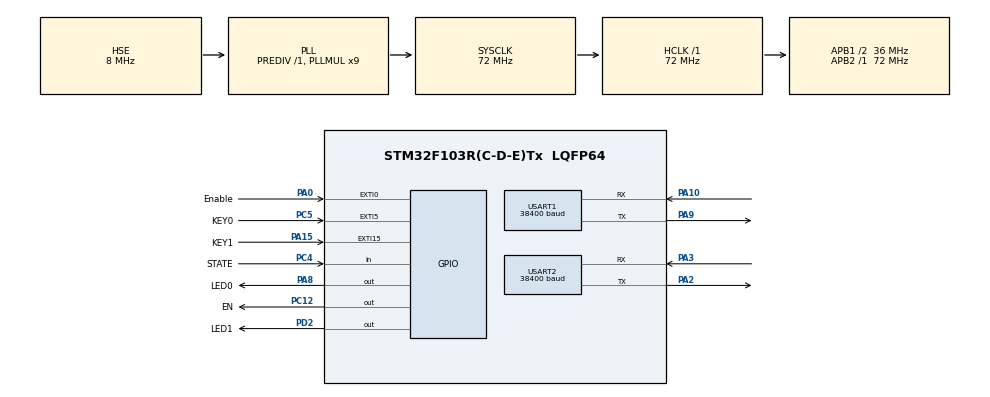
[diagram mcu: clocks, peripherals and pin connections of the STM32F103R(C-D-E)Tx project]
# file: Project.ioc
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Mcu.Family=STM32F1
Mcu.Name=STM32F103R(C-D-E)Tx
Mcu.Package=LQFP64
NVIC.EXTI0_IRQn=true\:2\:0\:true\:false\:true\:true\:true
NVIC.EXTI15_10_IRQn=true\:2\:0\:true\:false\:true\:true\:true
NVIC.EXTI9_5_IRQn=true\:2\:0\:true\:false\:true\:true\:true
NVIC.PriorityGroup=NVIC_PRIORITYGROUP_4
NVIC.TIM3_IRQn=true\:3\:0\:true\:false\:true\:true\:true
NVIC.USART1_IRQn=true\:1\:0\:true\:false\:true\:true\:true
NVIC.USART2_IRQn=true\:1\:0\:true\:false\:true\:true\:true
PA0-WKUP.GPIO_Label=Enable
PA0-WKUP.GPIO_PuPd=GPIO_PULLDOWN
PA0-WKUP.Signal=GPXTI0
PA10.Mode=Asynchronous
PA10.Signal=USART1_RX
PA13.Mode=Serial_Wire
PA13.Signal=SYS_JTMS-SWDIO
PA14.Mode=Serial_Wire
PA14.Signal=SYS_JTCK-SWCLK
PA15.GPIO_Label=KEY1
PA15.GPIO_PuPd=GPIO_PULLUP
PA15.Signal=GPXTI15
PA2.Mode=Asynchronous
PA2.Signal=USART2_TX
PA3.Mode=Asynchronous
PA3.Signal=USART2_RX
PA8.GPIO_Label=LED0
PA8.Signal=GPIO_Output
PA9.Mode=Asynchronous
PA9.Signal=USART1_TX
PC12.GPIO_Label=EN
PC12.Signal=GPIO_Output
PC4.GPIO_Label=STATE
PC4.Signal=GPIO_Input
PC5.GPIO_Label=KEY0
PC5.GPIO_PuPd=GPIO_PULLUP
PC5.Signal=GPXTI5
PD0-OSC_IN.Mode=HSE-External-Oscillator
PD0-OSC_IN.Signal=RCC_OSC_IN
PD1-OSC_OUT.Mode=HSE-External-Oscillator
PD1-OSC_OUT.Signal=RCC_OSC_OUT
PD2.GPIO_Label=LED1
PD2.Signal=GPIO_Output
ProjectManager.HeapSize=0x200
ProjectManager.StackSize=0x400
ProjectManager.TargetToolchain=STM32CubeIDE
RCC.AHBFreq_Value=72000000
RCC.APB1CLKDivider=RCC_HCLK_DIV2
RCC.APB1Freq_Value=36000000
RCC.APB1TimFreq_Value=72000000
RCC.APB2Freq_Value=72000000
RCC.APB2TimFreq_Value=72000000
RCC.HCLKFreq_Value=72000000
RCC.PLLMUL=RCC_PLL_MUL9
RCC.PLLSourceVirtual=RCC_PLLSOURCE_HSE
RCC.SYSCLKFreq_VALUE=72000000
RCC.SYSCLKSource=RCC_SYSCLKSOURCE_PLLCLK
RCC.USBFreq_Value=72000000
TIM3.Period=2499
TIM3.Prescaler=7199
USART1.BaudRate=38400
USART1.VirtualMode=VM_ASYNC
USART2.BaudRate=38400
USART2.VirtualMode=VM_ASYNC
VP_TIM3_VS_ClockSourceINT.Mode=Internal
board=custom

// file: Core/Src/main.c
/* USER CODE BEGIN Header */
/**
  ******************************************************************************
  * @file           : main.c
  * @brief          : Main program body
  ******************************************************************************
  * @attention
  *
  * <h2><center>&copy; Copyright (c) 2020 STMicroelectronics.
  * All rights reserved.</center></h2>
  *
  * This software component is licensed by ST under BSD 3-Clause license,
  * the "License"; You may not use this file except in compliance with the
  * License. You may obtain a copy of the License at:
  *                        opensource.org/licenses/BSD-3-Clause
  *
  ******************************************************************************
  */
/* USER CODE END Header */

#include "main.h"

/* USER CODE BEGIN Includes */
#include <string.h>
#include <stdio.h>
#include "lcd.h"
/* USER CODE END Includes */

TIM_HandleTypeDef htim3;

UART_HandleTypeDef huart1;
UART_HandleTypeDef huart2;

/* USER CODE BEGIN PV */
// lcd相关
char bt[1024]={0};
// 状态。ab：有无连接
char sta[1024]={0};
char cmd[1024]={0};
// l：显示的内容
char l[12][1024]={0};
char receiver[1024]={0};
char sender[1024]={0};
int re=0;

unsigned char outd[1024]={0};
unsigned char outd2[1024]={0};
unsigned char outl;
unsigned char outl2;
int icnt=0;
unsigned char snum[1024]={0};
unsigned char snumLength=0;

// 蓝牙相关
char rcv_buffer_user[1024]={0};
char rcv_buffer_bluetooth[1024]={0};
char helloWorld[40]="Hello world!\r\n";
char version[40] = "AT+VERSION?\r\n";
char cmode1[15] = "AT+CMODE=1\r\n";
char cmode0[15] = "AT+CMODE=0\r\n";
char modeat[15] = "enter at\r\n";
char at[10] = "AT\r\n";
char BindAddress[30]="AT+BIND=2113,21,000C10\r\n";
char EnBluetooth[18]="Bluetooth_Open\r\n";
char DisBluetooth[19]="Bluetooth_close\r\n";

int timer;
int key_interval = 300;
/* USER CODE END PV */

void SystemClock_Config(void);
static void MX_GPIO_Init(void);
static void MX_USART2_UART_Init(void);
static void MX_USART1_UART_Init(void);
static void MX_TIM3_Init(void);

/* USER CODE BEGIN 0 */
void HAL_UART_RxCpltCallback(UART_HandleTypeDef *huart)
{
	// 1 电脑
	if(huart->Instance==USART1)
	{
		//HAL_UART_Transmit(&huart2, "DO", 2, 0xffff);
		static unsigned char uRx_Data[1024] = {0};
		static unsigned char uLength = 0;
		if(rcv_buffer_user[0] == '\r')
		{
			uRx_Data[uLength] = rcv_buffer_user[0];
			uRx_Data[uLength+1] = '\n';
			uRx_Data[uLength+2] = '\n';
			for (int i=0;i<uLength;i++)
			{
				outd[i]=uRx_Data[i];
			}
			for (int i=uLength;i<1024;i++)
			{
				outd[i]=0;
			}
			outl = uLength;
			//uLength = 0;
			int q = outl / 13;
				if(outl % 13 != 0)
				{
					q = q + 1;
				}
				if(icnt+q<13)
				{
					if(q==1)
					{
						for(int k=0;k<28-outl;k++)
						{
							l[icnt][k]=' ';
						}
						for(int k=28-outl;k<28;k++)
						{
							l[icnt][k]=(char) outd[k-28+outl];
						}
					}
					else
					{
						for (int j=0;j<q;j++)
						{
							l[icnt+j][0]=' ';
							l[icnt+j][1]=' ';
							l[icnt+j][2]=' ';
							l[icnt+j][3]=' ';
							l[icnt+j][4]=' ';
							l[icnt+j][5]=' ';
							l[icnt+j][6]=' ';
							l[icnt+j][7]=' ';
							l[icnt+j][8]=' ';
							l[icnt+j][9]=' ';
							l[icnt+j][10]=' ';
							l[icnt+j][11]=' ';
							l[icnt+j][12]=' ';
							l[icnt+j][13]=' ';
							l[icnt+j][14]=' ';

							for (int k=0;k<13;k++)
							{
								if(j*13+k<outl)
								{
									l[icnt+j][k+15]=(char) outd[j*13+k];
								}
								else
								{
									l[icnt+j][k+15]=' ';
								}
							}
						}
					}
					icnt+=q;
				}
				else
				{
					int re=icnt+q-12;
					for(int j=0;j<12-re;j++)
					{
						for(int k=0;k<28;k++)
						{
							l[j][k]=l[j+re][k];
						}
					}
					if(q==1)
					{
						for(int k=0;k<28-outl;k++)
						{
							l[12-q][k]=' ';
						}
						for(int k=28-outl;k<28;k++)
						{
							l[12-q][k]=(char) outd[k-28+outl];
						}
						//HAL_UART_Transmit(&huart1, outd, strlen(outd), 0xffff);
						//HAL_UART_Transmit(&huart1, outd2, strlen(outd2), 0xffff);
					}
					else
					{

						for(int j=0;j<q;j++)
						{
							l[j+12-q][0]=' ';
							l[j+12-q][1]=' ';
							l[j+12-q][2]=' ';
							l[j+12-q][3]=' ';
							l[j+12-q][4]=' ';
							l[j+12-q][5]=' ';
							l[j+12-q][6]=' ';
							l[j+12-q][7]=' ';
							l[j+12-q][8]=' ';
							l[j+12-q][9]=' ';
							l[j+12-q][10]=' ';
							l[j+12-q][11]=' ';
							l[j+12-q][12]=' ';
							l[j+12-q][13]=' ';
							l[j+12-q][14]=' ';
							 for(int k=0;k<13;k++)
							 {
								 if(j*13+k<outl)
								 {
									 l[j+12-q][k+15]=outd[j*13+k];
								 }
								 else
								 {
									 l[j+12-q][k+15]=' ';
								 }
							 }
						}
					}
					icnt=12;
				}
				snum[snumLength]=q;
				snumLength++;
			// 电脑
//			HAL_UART_Transmit(&huart1, uRx_Data, uLength, 0xffff);
			// 蓝牙
			HAL_UART_Transmit(&huart2, uRx_Data, uLength + 3, 0xffff);
			uLength=0;
			// 接下来把数据写到显示的array里

			//re=0;
		}
		else
		{
			uRx_Data[uLength] = rcv_buffer_user[0];
			uLength++;
		}
	}
	// 2 蓝牙
	if(huart->Instance==USART2)
	{
		static unsigned char uRx_Data2[1024] = {0};
		static unsigned char uLength2 = 0;
		/*if(re==0){
		write_to_array_right();
		re=1;
		}*/
		if(rcv_buffer_bluetooth[0] == '\r')
		{
			uRx_Data2[uLength2] = rcv_buffer_bluetooth[0];
			// 电脑
			if(strlen(uRx_Data2[0])==0){
				for (int i=0;i<uLength2;i++){
					uRx_Data2[i]=uRx_Data2[i+1];
				}
				uLength2--;
			}

			for (int i=0;i<uLength2;i++)
			{
				outd2[i] = uRx_Data2[i];
			}
			for (int i=uLength2;i<1024;i++)
			{
				outd2[i] = 0;
			}
			outl2=uLength2;
			//HAL_UART_Transmit(&huart1, outd2, uLength2 + 1, 0xffff);
			int q = outl2 / 13;
				if(outl2 % 13 != 0){
					q=q+1;
				}
				if(icnt+q<13)
				{
					for (int j=0;j<q;j++)
					{
						for (int k=0;k<13;k++)
						{
							if(j*13 + k < outl2)
							{
								l[icnt+j][k]=(char) outd2[j*13+k];
							}
							else
							{
								l[icnt+j][k]=' ';
							}
						}for (int k=13;k<28;k++){
							l[icnt+j][k]=' ';
						}
					}
					icnt+=q;
					//HAL_UART_Transmit(&huart1, outd, strlen(outd), 0xffff);
					//HAL_UART_Transmit(&huart1, outd2, strlen(outd2), 0xffff);
				}
				else
				{
					int re=icnt+q-12;
					for(int j=0;j<12-re;j++)
					{
						for(int k=0;k<28;k++)
						{
							l[j][k]=l[j+re][k];
						}
					}
					for(int j=0;j<q;j++)
					{
						 for(int k=0;k<13;k++)
						 {
							 if(j*13+k<outl2)
							 {
								 l[j+12-q][k]=outd2[j*13+k];
							 }
							 else
							 {
								 l[j+12-q][k]=' ';
							 }
						 }
						 for (int k=13;k<28;k++){
							 l[j+12-q][k]=' ';
						 }
					}
					icnt=12;
				}
				//HAL_UART_Transmit(&huart1, outd2,strlen(outd2), 0xffff);
				//HAL_UART_Transmit(&huart1, l[3],strlen(l[3]), 0xffff);
				snum[snumLength]=q;
				snumLength++;
			uLength2 = 0;
		}
		else
		{
			uRx_Data2[uLength2] = rcv_buffer_bluetooth[0];
			uLength2++;
		}
	}
}

void USART1_IRQHandler(void)
{
  /* USER CODE BEGIN USART1_IRQn 0 */

  /* USER CODE END USART1_IRQn 0 */
  HAL_UART_IRQHandler(&huart1);
  /* USER CODE BEGIN USART1_IRQn 1 */
  HAL_UART_Receive_IT(&huart1, (uint8_t *)rcv_buffer_user, 1);
  /* USER CODE END USART1_IRQn 1 */
}
void USART2_IRQHandler(void)
{
  /* USER CODE BEGIN USART2_IRQn 0 */

  /* USER CODE END USART2_IRQn 0 */
  HAL_UART_IRQHandler(&huart2);
  /* USER CODE BEGIN USART2_IRQn 1 */
  HAL_UART_Receive_IT(&huart2, (uint8_t *)rcv_buffer_bluetooth, 1);
  /* USER CODE END USART2_IRQn 1 */
}

void HAL_GPIO_EXTI_Callback(uint16_t GPIO_Pin)
{
	if(HAL_GetTick() - timer < key_interval)
	{
		return;
	}
	else
	{
		timer = HAL_GetTick();
		switch(GPIO_Pin)
		{
			case KEY0_Pin://建立默认连接
			{
				HAL_UART_Transmit(&huart2, (uint8_t*)cmode0, strlen(cmode0), HAL_MAX_DELAY);
				HAL_UART_Transmit(&huart2, (uint8_t*)BindAddress, strlen(BindAddress), HAL_MAX_DELAY);
				HAL_UART_Transmit(&huart1, (uint8_t*)cmode0, strlen(cmode0), HAL_MAX_DELAY);
				break;
			}
			case KEY1_Pin://任意连接
			{
				HAL_UART_Transmit(&huart2, (uint8_t*)cmode1, strlen(cmode1), HAL_MAX_DELAY);
				HAL_UART_Transmit(&huart1, (uint8_t*)cmode1, strlen(cmode1), HAL_MAX_DELAY);
				break;
			}
			case Enable_Pin://打开或关闭蓝牙模
			{
				HAL_GPIO_TogglePin(EN_GPIO_Port, EN_Pin);
				int IfEn=HAL_GPIO_ReadPin(EN_GPIO_Port,EN_Pin);
				if (IfEn==0)
				{
					HAL_UART_Transmit(&huart1, (uint8_t*)DisBluetooth, strlen(DisBluetooth), HAL_MAX_DELAY);
				}
				else
				{
					HAL_UART_Transmit(&huart1, (uint8_t*)EnBluetooth, strlen(EnBluetooth), HAL_MAX_DELAY);
				}
				return;
			}
		}

	}
}

/* USER CODE END 0 */

int main(void)
{

  /* MCU Configuration--------------------------------------------------------*/

  /* Reset of all peripherals, Initializes the Flash interface and the Systick. */
  HAL_Init();
  LCD_Init();

  /* Configure the system clock */
  SystemClock_Config();

  /* Initialize all configured peripherals */
  MX_GPIO_Init();
  MX_USART2_UART_Init();
  MX_USART1_UART_Init();
  MX_TIM3_Init();
  /* USER CODE BEGIN 2 */
  HAL_UART_Receive_IT(&huart1, (uint8_t *)rcv_buffer_user, 1);
  HAL_UART_Receive_IT(&huart2, (uint8_t *)rcv_buffer_bluetooth, 1);
  HAL_TIM_Base_Start_IT(&htim3);

  HAL_GPIO_WritePin(EN_GPIO_Port, EN_Pin, GPIO_PIN_RESET);

  timer = HAL_GetTick();

  /* USER CODE END 2 */

  /* Infinite loop */
  /* USER CODE BEGIN WHILE */
  while (1)
    {
	  HAL_Delay(1000);
	  /*HAL_UART_Transmit(&huart1, "new line0\n", 11, 0xffff);
	  HAL_UART_Transmit(&huart1, l[0], strlen(l[0]), 0xffff);
	  HAL_UART_Transmit(&huart1, "new line1\n", 11, 0xffff);
	  HAL_UART_Transmit(&huart1, l[1], strlen(l[1]), 0xffff);
	  HAL_UART_Transmit(&huart1, "new line2\n", 11, 0xffff);
	  HAL_UART_Transmit(&huart1, l[2], strlen(l[2]), 0xffff);
	  HAL_UART_Transmit(&huart1, "new line3\n", 11, 0xffff);
	  HAL_UART_Transmit(&huart1, l[3], strlen(l[3]), 0xffff);
	  HAL_UART_Transmit(&huart1, "new line4\n", 11, 0xffff);
	  HAL_UART_Transmit(&huart1, l[4], strlen(l[4]), 0xffff);
	  HAL_UART_Transmit(&huart1, "new line5\n", 11, 0xffff);
	  HAL_UART_Transmit(&huart1, l[5], strlen(l[5]), 0xffff);
	  HAL_UART_Transmit(&huart1, "new line6\n", 11, 0xffff);
	  HAL_UART_Transmit(&huart1, l[6], strlen(l[6]), 0xffff);
	  HAL_UART_Transmit(&huart1, "new line7\n", 11, 0xffff);
	  HAL_UART_Transmit(&huart1, l[7], strlen(l[7]), 0xffff);
	  HAL_UART_Transmit(&huart1, "new line8\n", 11, 0xffff);
	  HAL_UART_Transmit(&huart1, l[8], strlen(l[8]), 0xffff);
	  HAL_UART_Transmit(&huart1, "new line9\n", 11, 0xffff);
	  HAL_UART_Transmit(&huart1, l[9], strlen(l[9]), 0xffff);
	  HAL_UART_Transmit(&huart1, "new line10\n", 11, 0xffff);
	  HAL_UART_Transmit(&huart1, l[10], strlen(l[10]), 0xffff);
	  HAL_UART_Transmit(&huart1, "new line11\n", 11, 0xffff);
	  HAL_UART_Transmit(&huart1, l[11], strlen(l[11]), 0xffff);
	  HAL_UART_Transmit(&huart1, "new line12\n", 11, 0xffff);*/
      /* USER CODE END WHILE */
  	  char msg[20];
  	  char btmsg[20];
  	  char cmdmsg[20];
  	  sprintf(btmsg, "BlueTooth:%s", bt);
  	  sprintf(msg, "status:%s", sta);
  	  sprintf(cmdmsg, "msg:%s", cmd);
  	  POINT_COLOR = BLACK;
  	  LCD_DrawRectangle(5, 5, 235, 65);
  	  LCD_ShowString(6, 6, 228, 16, 16, (uint8_t*) btmsg);
  	  LCD_ShowString(6, 26, 228, 16, 16, (uint8_t*) msg);
  	  LCD_ShowString(6, 46, 228, 16, 16, (uint8_t*) cmdmsg);
  	  LCD_DrawRectangle(5, 65, 235, 315);
//  	 HAL_UART_Transmit(&huart1, "First char\r\n", 20, 0xffff);
  	  /*for (int i=0;i<12;i++){
//  		  HAL_UART_Transmit(&huart1, l[i][0], 3, 0xffff);
  		  if(l[i][0]==' '){
  			  POINT_COLOR=BLUE;
  		  }else{
  			  POINT_COLOR=RED;
  		  }
			  LCD_ShowString(6,66+20*i,228,16,16,l[i]);
  	  }*/
  	  	  	  if(l[0][0]==' '){
  		  		POINT_COLOR = BLUE;
  		  	  }else{
  		  		POINT_COLOR = RED;
  		  	  }
  		  	LCD_ShowString(6, 66, 228, 16, 16, (uint8_t*) l[0]);
  		  	  if(l[1][0]==' '){
  		  		POINT_COLOR = BLUE;
  		  	  }else{
  		  		POINT_COLOR = RED;
  		  	  }
  		  	LCD_ShowString(6, 86, 228, 16, 16, (uint8_t*) l[1]);
  		  	  if(l[2][0]==' '){
  		  		POINT_COLOR = BLUE;
  		  	  }else{
  		  		POINT_COLOR = RED;
  		  	  }
  		  	LCD_ShowString(6, 106, 228, 16, 16, (uint8_t*) l[2]);
  		  	  if(l[3][0]==' '){
  		  		POINT_COLOR = BLUE;
  		  	  }else{
  		  		POINT_COLOR = RED;
  		  	  }
  		  	LCD_ShowString(6, 126, 228, 16, 16, (uint8_t*) l[3]);
  		  	  if(l[4][0]==' '){
  		  		POINT_COLOR = BLUE;
  		  	  }else{
  		  		POINT_COLOR = RED;
  		  	  }
  		  	LCD_ShowString(6, 146, 228, 16, 16, (uint8_t*) l[4]);
  		  	  if(l[5][0]==' '){
  		  		POINT_COLOR = BLUE;
  		  	  }else{
  		  		POINT_COLOR = RED;
  		  	  }
  		  	LCD_ShowString(6, 166, 228, 16, 16, (uint8_t*) l[5]);
  		  	  if(l[6][0]==' '){
  		  		POINT_COLOR = BLUE;
  		  	  }else{
  		  		POINT_COLOR = RED;
  		  	  }
  		  	LCD_ShowString(6, 186, 228, 16, 16, (uint8_t*) l[6]);
  		  	  if(l[7][0]==' '){
  		  		POINT_COLOR = BLUE;
  		  	  }else{
  		  		POINT_COLOR = RED;
  		  	  }
  		  	LCD_ShowString(6, 206, 228, 16, 16, (uint8_t*) l[7]);
  		  	  if(l[8][0]==' '){
  		  		POINT_COLOR = BLUE;
  		  	  }else{
  		  		POINT_COLOR = RED;
  		  	  }
  		  	LCD_ShowString(6, 226, 228, 16, 16, (uint8_t*) l[8]);
  		  	  if(l[9][0]==' '){
  		  		POINT_COLOR = BLUE;
  		  	  }else{
  		  		POINT_COLOR = RED;
  		  	  }
  		  	LCD_ShowString(6, 246, 228, 16, 16, (uint8_t*) l[9]);
  		  	  if(l[10][0]==' '){
  		  		POINT_COLOR = BLUE;
  		  	  }else{
  		  		POINT_COLOR = RED;
  		  	  }
  		  	LCD_ShowString(6, 266, 228, 16, 16, (uint8_t*) l[10]);
  		  	  if(l[11][0]==' '){
  		  		POINT_COLOR = BLUE;
  		  	  }else{
  		  		POINT_COLOR = RED;
  		  	  }
  		  	LCD_ShowString(6, 286, 228, 16, 16, (uint8_t*) l[11]);
  	//LCD_ShowString(6,66+20*3,228,16,16,l[3]);

  	  	POINT_COLOR = GRAY;
  	  	if(icnt<12){
  	  		int nl=0;
  	  		for(int i=0;i<snumLength;i++){
  	  			nl+=snum[i];
  	  			LCD_DrawLine(6,65+20*nl,234,65+20*nl);
  	  		}
  	  	}else{
  	  		int nl=0;
  	  		/*for(int i=0;i<snumLength;i++){
  	  			LCD_DrawLine(6,305-20*nl,234,305-20*nl);
  	  			nl+=snum[snumLength-1-i];
  	  			if(nl>12){
  	  				break;
  	  			}
  	  		}*/
  	  		int j=0;
  	  		for(int i=0;i<12;i++){
  	  			if(i==nl){
  	  				POINT_COLOR=GRAY;
  	  				LCD_DrawLine(6,305-20*i,234,305-20*i);
  	  				nl+=snum[snumLength-1-j];
  	  				j++;
  	  			}else{
  	  				POINT_COLOR=WHITE;
  	  				LCD_DrawLine(6,305-20*i,234,305-20*i);
  	  			}
  	  		}
  	  	}
    }
}

void SystemClock_Config(void)
{
  RCC_OscInitTypeDef RCC_OscInitStruct = {0};
  RCC_ClkInitTypeDef RCC_ClkInitStruct = {0};

  /** Initializes the CPU, AHB and APB busses clocks
  */
  RCC_OscInitStruct.OscillatorType = RCC_OSCILLATORTYPE_HSE;
  RCC_OscInitStruct.HSEState = RCC_HSE_ON;
  RCC_OscInitStruct.HSEPredivValue = RCC_HSE_PREDIV_DIV1;
  RCC_OscInitStruct.HSIState = RCC_HSI_ON;
  RCC_OscInitStruct.PLL.PLLState = RCC_PLL_ON;
  RCC_OscInitStruct.PLL.PLLSource = RCC_PLLSOURCE_HSE;
  RCC_OscInitStruct.PLL.PLLMUL = RCC_PLL_MUL9;
  if (HAL_RCC_OscConfig(&RCC_OscInitStruct) != HAL_OK)
  {
    Error_Handler();
  }
  /** Initializes the CPU, AHB and APB busses clocks
  */
  RCC_ClkInitStruct.ClockType = RCC_CLOCKTYPE_HCLK|RCC_CLOCKTYPE_SYSCLK
                              |RCC_CLOCKTYPE_PCLK1|RCC_CLOCKTYPE_PCLK2;
  RCC_ClkInitStruct.SYSCLKSource = RCC_SYSCLKSOURCE_PLLCLK;
  RCC_ClkInitStruct.AHBCLKDivider = RCC_SYSCLK_DIV1;
  RCC_ClkInitStruct.APB1CLKDivider = RCC_HCLK_DIV2;
  RCC_ClkInitStruct.APB2CLKDivider = RCC_HCLK_DIV1;

  if (HAL_RCC_ClockConfig(&RCC_ClkInitStruct, FLASH_LATENCY_2) != HAL_OK)
  {
    Error_Handler();
  }
}

static void MX_TIM3_Init(void)
{

  TIM_ClockConfigTypeDef sClockSourceConfig = {0};
  TIM_MasterConfigTypeDef sMasterConfig = {0};

  htim3.Instance = TIM3;
  htim3.Init.Prescaler = 7199;
  htim3.Init.CounterMode = TIM_COUNTERMODE_UP;
  htim3.Init.Period = 2499;
  htim3.Init.ClockDivision = TIM_CLOCKDIVISION_DIV1;
  htim3.Init.AutoReloadPreload = TIM_AUTORELOAD_PRELOAD_DISABLE;
  if (HAL_TIM_Base_Init(&htim3) != HAL_OK)
  {
    Error_Handler();
  }
  sClockSourceConfig.ClockSource = TIM_CLOCKSOURCE_INTERNAL;
  if (HAL_TIM_ConfigClockSource(&htim3, &sClockSourceConfig) != HAL_OK)
  {
    Error_Handler();
  }
  sMasterConfig.MasterOutputTrigger = TIM_TRGO_RESET;
  sMasterConfig.MasterSlaveMode = TIM_MASTERSLAVEMODE_DISABLE;
  if (HAL_TIMEx_MasterConfigSynchronization(&htim3, &sMasterConfig) != HAL_OK)
  {
    Error_Handler();
  }

}

static void MX_USART1_UART_Init(void)
{

  huart1.Instance = USART1;
  huart1.Init.BaudRate = 38400;
  huart1.Init.WordLength = UART_WORDLENGTH_8B;
  huart1.Init.StopBits = UART_STOPBITS_1;
  huart1.Init.Parity = UART_PARITY_NONE;
  huart1.Init.Mode = UART_MODE_TX_RX;
  huart1.Init.HwFlowCtl = UART_HWCONTROL_NONE;
  huart1.Init.OverSampling = UART_OVERSAMPLING_16;
  if (HAL_UART_Init(&huart1) != HAL_OK)
  {
    Error_Handler();
  }

}

static void MX_USART2_UART_Init(void)
{

  huart2.Instance = USART2;
  huart2.Init.BaudRate = 38400;
  huart2.Init.WordLength = UART_WORDLENGTH_8B;
  huart2.Init.StopBits = UART_STOPBITS_1;
  huart2.Init.Parity = UART_PARITY_NONE;
  huart2.Init.Mode = UART_MODE_TX_RX;
  huart2.Init.HwFlowCtl = UART_HWCONTROL_NONE;
  huart2.Init.OverSampling = UART_OVERSAMPLING_16;
  if (HAL_UART_Init(&huart2) != HAL_OK)
  {
    Error_Handler();
  }

}

static void MX_GPIO_Init(void)
{
  GPIO_InitTypeDef GPIO_InitStruct = {0};

  /* GPIO Ports Clock Enable */
  __HAL_RCC_GPIOD_CLK_ENABLE();
  __HAL_RCC_GPIOA_CLK_ENABLE();
  __HAL_RCC_GPIOC_CLK_ENABLE();

  /*Configure GPIO pin Output Level */
  HAL_GPIO_WritePin(LED0_GPIO_Port, LED0_Pin, GPIO_PIN_RESET);

  /*Configure GPIO pin Output Level */
  HAL_GPIO_WritePin(EN_GPIO_Port, EN_Pin, GPIO_PIN_RESET);

  /*Configure GPIO pin Output Level */
  HAL_GPIO_WritePin(LED1_GPIO_Port, LED1_Pin, GPIO_PIN_RESET);

  /*Configure GPIO pin : Enable_Pin */
  GPIO_InitStruct.Pin = Enable_Pin;
  GPIO_InitStruct.Mode = GPIO_MODE_IT_RISING;
  GPIO_InitStruct.Pull = GPIO_PULLDOWN;
  HAL_GPIO_Init(Enable_GPIO_Port, &GPIO_InitStruct);

  /*Configure GPIO pin : STATE_Pin */
  GPIO_InitStruct.Pin = STATE_Pin;
  GPIO_InitStruct.Mode = GPIO_MODE_INPUT;
  GPIO_InitStruct.Pull = GPIO_NOPULL;
  HAL_GPIO_Init(STATE_GPIO_Port, &GPIO_InitStruct);

  /*Configure GPIO pin : KEY0_Pin */
  GPIO_InitStruct.Pin = KEY0_Pin;
  GPIO_InitStruct.Mode = GPIO_MODE_IT_RISING;
  GPIO_InitStruct.Pull = GPIO_PULLUP;
  HAL_GPIO_Init(KEY0_GPIO_Port, &GPIO_InitStruct);

  /*Configure GPIO pin : LED0_Pin */
  GPIO_InitStruct.Pin = LED0_Pin;
  GPIO_InitStruct.Mode = GPIO_MODE_OUTPUT_PP;
  GPIO_InitStruct.Pull = GPIO_NOPULL;
  GPIO_InitStruct.Speed = GPIO_SPEED_FREQ_LOW;
  HAL_GPIO_Init(LED0_GPIO_Port, &GPIO_InitStruct);

  /*Configure GPIO pin : KEY1_Pin */
  GPIO_InitStruct.Pin = KEY1_Pin;
  GPIO_InitStruct.Mode = GPIO_MODE_IT_RISING;
  GPIO_InitStruct.Pull = GPIO_PULLUP;
  HAL_GPIO_Init(KEY1_GPIO_Port, &GPIO_InitStruct);

  /*Configure GPIO pin : EN_Pin */
  GPIO_InitStruct.Pin = EN_Pin;
  GPIO_InitStruct.Mode = GPIO_MODE_OUTPUT_PP;
  GPIO_InitStruct.Pull = GPIO_NOPULL;
  GPIO_InitStruct.Speed = GPIO_SPEED_FREQ_LOW;
  HAL_GPIO_Init(EN_GPIO_Port, &GPIO_InitStruct);

  /*Configure GPIO pin : LED1_Pin */
  GPIO_InitStruct.Pin = LED1_Pin;
  GPIO_InitStruct.Mode = GPIO_MODE_OUTPUT_PP;
  GPIO_InitStruct.Pull = GPIO_NOPULL;
  GPIO_InitStruct.Speed = GPIO_SPEED_FREQ_LOW;
  HAL_GPIO_Init(LED1_GPIO_Port, &GPIO_InitStruct);

  /* EXTI interrupt init*/
  HAL_NVIC_SetPriority(EXTI0_IRQn, 2, 0);
  HAL_NVIC_EnableIRQ(EXTI0_IRQn);

  HAL_NVIC_SetPriority(EXTI9_5_IRQn, 2, 0);
  HAL_NVIC_EnableIRQ(EXTI9_5_IRQn);

  HAL_NVIC_SetPriority(EXTI15_10_IRQn, 2, 0);
  HAL_NVIC_EnableIRQ(EXTI15_10_IRQn);

}

void Error_Handler(void)
{
}

/************************ (C) COPYRIGHT STMicroelectronics *****END OF FILE****/
